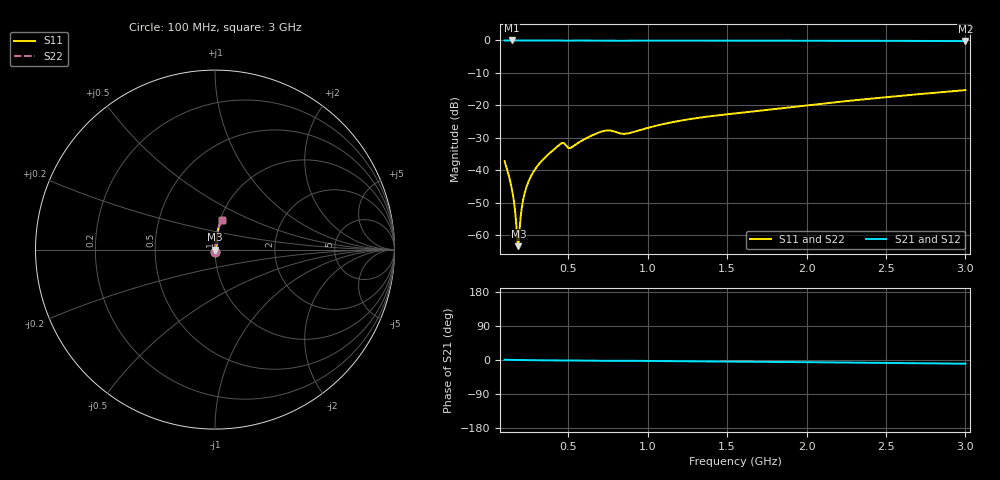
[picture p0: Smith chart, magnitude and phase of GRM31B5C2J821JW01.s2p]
!Murata Part Number: GRM31B5C2J821JW01
!These Parameters are Measured in Series Mode Connection
!Data Generated on Mar 30, 2021
!  o--ll--o
!Port1  Port2
!  o------o
!Operation Temp=25[degC], DC Bias Voltage=0[V]
!Freq. Start=100[MHz] Stop=3[GHz] 401[Steps]
# Hz S RI R 50
!Freq.(Hz) S11(Real) S11(Imag) S21(Real) S21(Imag) S12(Real) S12(Imag) S22(Real) S22(Imag)
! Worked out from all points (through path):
!   401 points, 100 MHz to 3 GHz, reference 50 ohm
!   highest |S21| = -0.01 dB at 143.5 MHz (marker M1); lowest = -0.2 dB at 3 GHz (marker M2)
!   group delay of S21, straight-line fit = 9.12 ps
!   lowest |S11| = -63.5 dB at 187 MHz (marker M3), VSWR 1.00, Z = 50.1 + j0.0256 ohm
!   |S11| at or under -10 dB: start of sweep to end of sweep
!   |S22| runs from -63.5 to -15.3 dB; largest |S21 - S12| = 0
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1e8  0.00073 -0.0137  0.9993 0.0137  0.9993 0.0137  0.00073 -0.0137
1.145e8  0.00066 -0.0105  0.9993 0.0105  0.9993 0.0105  0.00066 -0.0105
1.435e8  0.000602 -0.0054  0.9994 0.0054  0.9994 0.0054  0.000602 -0.0054
1.58e8  0.000598 -0.00332  0.9994 0.00332  0.9994 0.00332  0.000598 -0.00332
1.725e8  0.000605 -0.00146  0.9994 0.00146  0.9994 0.00146  0.000605 -0.00146
1.7975e8  0.000612 -0.000584  0.9994 0.000584  0.9994 0.000584  0.000612 -0.000584
1.87e8  0.000621 0.000255  0.9994 -0.000255  0.9994 -0.000255  0.000621 0.000255
1.9425e8  0.000632 0.00106  0.9994 -0.00106  0.9994 -0.00106  0.000632 0.00106
2.16e8  0.000676 0.00335  0.9993 -0.00335  0.9993 -0.00335  0.000676 0.00335
2.305e8  0.000713 0.00477  0.9993 -0.00477  0.9993 -0.00477  0.000713 0.00477
2.595e8  0.000809 0.00745  0.9992 -0.00745  0.9992 -0.00745  0.000809 0.00745
2.9575e8  0.000975 0.0106  0.999 -0.0106  0.999 -0.0106  0.000975 0.0106
4.48e8  0.00513 0.0245  0.9949 -0.0245  0.9949 -0.0245  0.00513 0.0245
5.1325e8  0.00616 0.0211  0.9938 -0.0211  0.9938 -0.0211  0.00616 0.0211
5.8575e8  0.00405 0.0282  0.9959 -0.0282  0.9959 -0.0282  0.00405 0.0282
7.3075e8  0.0114 0.0388  0.9886 -0.0388  0.9886 -0.0388  0.0114 0.0388
8.6125e8  0.0109 0.0347  0.9891 -0.0347  0.9891 -0.0347  0.0109 0.0347
1.0715e9  0.00708 0.049  0.9929 -0.049  0.9929 -0.049  0.00708 0.049
1.55e9  0.013 0.0737  0.987 -0.0737  0.987 -0.0737  0.013 0.0737
2.03575e9  0.0159 0.1008  0.9841 -0.1008  0.9841 -0.1008  0.0159 0.1008
2.5215e9  0.024 0.1326  0.976 -0.1326  0.976 -0.1326  0.024 0.1326
3e9  0.0371 0.1674  0.9629 -0.1674  0.9629 -0.1674  0.0371 0.1674
